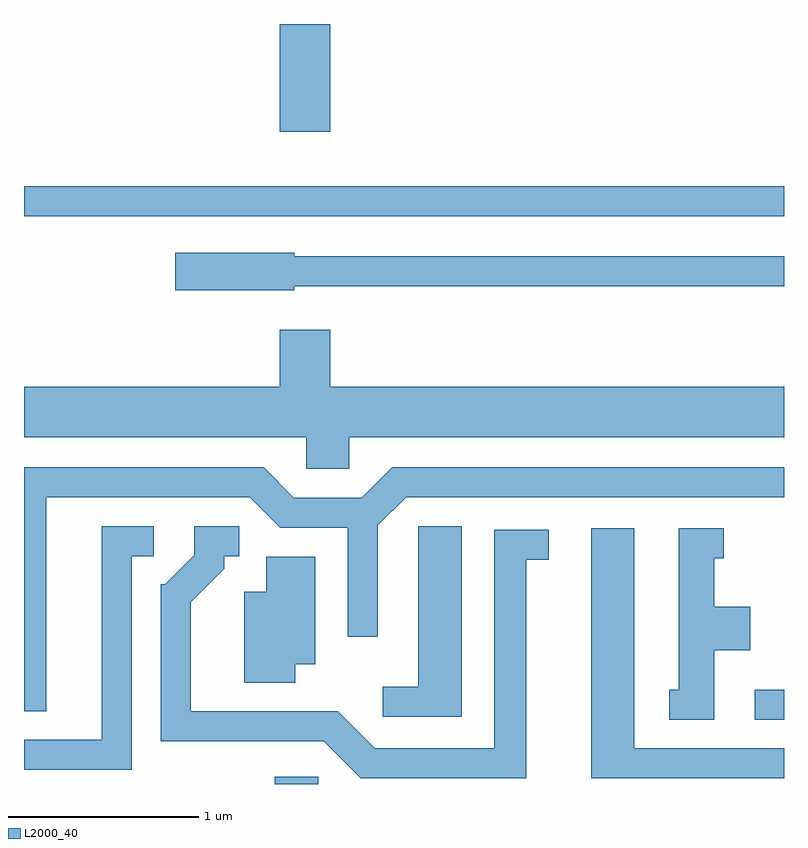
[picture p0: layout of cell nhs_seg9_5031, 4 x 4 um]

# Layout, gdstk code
import gdstk
lib = gdstk.Library(unit=1e-6, precision=1e-09)
def R(c, l, rs):  # rectangles x0, y0, x1, y1
    for r in rs: c.add(gdstk.rectangle(r[:2], r[2:], *l))
def P(c, l, *ps):  # polygons
    for p in ps: c.add(gdstk.Polygon(p, *l))
L2000_40 = (2000, 40)

nhs_seg9_5031 = lib.new_cell('nhs_seg9_5031')
R(nhs_seg9_5031, L2000_40, [(334.931,1994.432,335.159,1994.469), (337.458,1994.771,337.611,1994.929), (333.611,1997.421,337.611,1997.579), (334.956,1997.866,335.224,1998.432)])
P(nhs_seg9_5031, L2000_40, [(335.034,1997.051),(337.611,1997.051),(337.611,1997.209),(335.034,1997.209),(335.034,1997.229),(334.406,1997.229),(334.406,1997.031),(335.034,1997.031)],
  [(335.324,1996.256),(337.611,1996.256),(337.611,1996.524),(335.224,1996.524),(335.224,1996.824),(334.956,1996.824),(334.956,1996.524),(333.611,1996.524),(333.611,1996.256),(335.096,1996.256),(335.096,1996.091),(335.324,1996.091)],
  [(333.729,1995.941),(334.799,1995.941),(334.959,1995.781),(335.316,1995.781),(335.316,1995.208),(335.474,1995.208),(335.474,1995.794),(335.622,1995.941),(337.611,1995.941),(337.611,1996.099),(335.549,1996.099),(335.389,1995.939),(335.032,1995.939),(334.872,1996.099),(333.611,1996.099),(333.611,1994.816),(333.729,1994.816)],
  [(334.179,1995.631),(334.293,1995.631),(334.293,1995.789),(334.021,1995.789),(334.021,1994.664),(333.611,1994.664),(333.611,1994.506),(334.179,1994.506)],
  [(335.914,1995.789),(335.686,1995.789),(335.686,1994.944),(335.498,1994.944),(335.498,1994.786),(335.914,1994.786)],
  [(336.254,1995.611),(336.373,1995.611),(336.373,1995.769),(336.086,1995.769),(336.086,1994.619),(335.457,1994.619),(335.262,1994.814),(334.489,1994.814),(334.489,1995.389),(334.664,1995.564),(334.664,1995.631),(334.743,1995.631),(334.743,1995.789),(334.506,1995.789),(334.506,1995.637),(334.354,1995.484),(334.331,1995.484),(334.331,1994.656),(335.189,1994.656),(335.384,1994.461),(336.254,1994.461)],
  [(337.244,1995.136),(337.434,1995.136),(337.434,1995.364),(337.244,1995.364),(337.244,1995.621),(337.293,1995.621),(337.293,1995.779),(337.056,1995.779),(337.056,1994.929),(337.008,1994.929),(337.008,1994.771),(337.244,1994.771)],
  [(337.611,1994.619),(336.824,1994.619),(336.824,1995.779),(336.596,1995.779),(336.596,1994.461),(337.611,1994.461)],
  [(335.039,1995.061),(335.144,1995.061),(335.144,1995.629),(334.886,1995.629),(334.886,1995.444),(334.771,1995.444),(334.771,1994.966),(335.039,1994.966)])

lib.write_gds('nhs_seg9_5031.gds')
